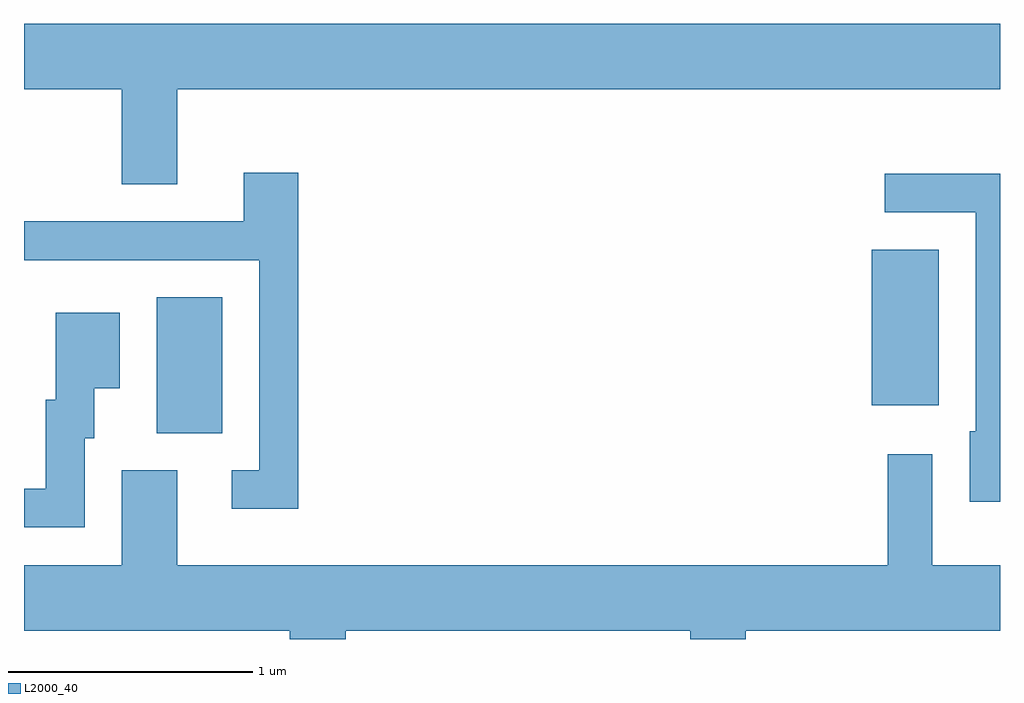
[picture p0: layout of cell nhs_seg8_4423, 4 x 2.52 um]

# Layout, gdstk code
import gdstk
lib = gdstk.Library(unit=1e-6, precision=1e-09)
def R(c, l, rs):  # rectangles x0, y0, x1, y1
    for r in rs: c.add(gdstk.rectangle(r[:2], r[2:], *l))
def P(c, l, *ps):  # polygons
    for p in ps: c.add(gdstk.Polygon(p, *l))
L2000_40 = (2000, 40)

nhs_seg8_4423 = lib.new_cell('nhs_seg8_4423')
R(nhs_seg8_4423, L2000_40, [(318.156,1877.186,318.424,1877.744), (321.086,1877.301,321.359,1877.939)])
P(nhs_seg8_4423, L2000_40, [(318.239,1878.596),(321.611,1878.596),(321.611,1878.864),(317.611,1878.864),(317.611,1878.596),(318.011,1878.596),(318.011,1878.206),(318.239,1878.206)],
  [(318.734,1878.254),(318.511,1878.254),(318.511,1878.054),(317.611,1878.054),(317.611,1877.896),(318.576,1877.896),(318.576,1877.034),(318.463,1877.034),(318.463,1876.876),(318.734,1876.876)],
  [(321.611,1878.249),(321.138,1878.249),(321.138,1878.091),(321.511,1878.091),(321.511,1877.194),(321.486,1877.194),(321.486,1876.906),(321.611,1876.906)],
  [(317.859,1877.166),(317.899,1877.166),(317.899,1877.371),(318.004,1877.371),(318.004,1877.679),(317.741,1877.679),(317.741,1877.324),(317.701,1877.324),(317.701,1876.959),(317.611,1876.959),(317.611,1876.801),(317.859,1876.801)],
  [(318.929,1876.376),(320.341,1876.376),(320.341,1876.342),(320.569,1876.342),(320.569,1876.376),(321.611,1876.376),(321.611,1876.644),(321.334,1876.644),(321.334,1877.099),(321.151,1877.099),(321.151,1876.644),(318.239,1876.644),(318.239,1877.034),(318.011,1877.034),(318.011,1876.644),(317.611,1876.644),(317.611,1876.376),(318.701,1876.376),(318.701,1876.342),(318.929,1876.342)])

lib.write_gds('nhs_seg8_4423.gds')
